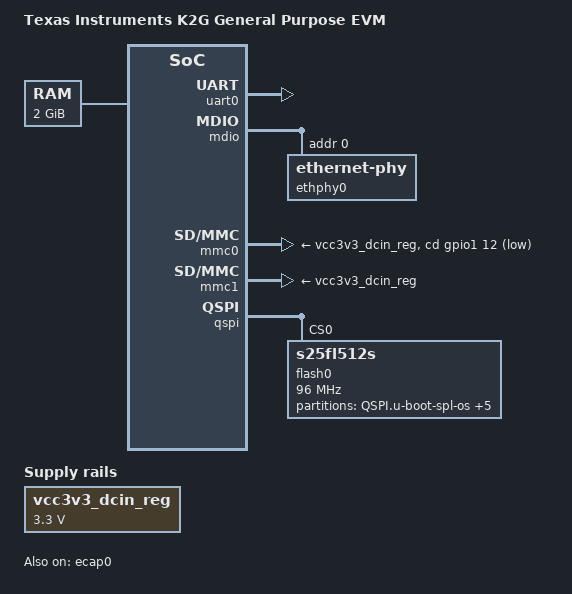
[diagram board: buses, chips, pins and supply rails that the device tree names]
/*
 * Device Tree Source for K2G EVM
 *
 * Copyright (C) 2016 Texas Instruments Incorporated - http://www.ti.com/
 *
 * This program is free software; you can redistribute it and/or modify
 * it under the terms of the GNU General Public License version 2 as
 * published by the Free Software Foundation.
 *
 * This program is distributed "as is" WITHOUT ANY WARRANTY of any
 * kind, whether express or implied; without even the implied warranty
 * of MERCHANTABILITY or FITNESS FOR A PARTICULAR PURPOSE.  See the
 * GNU General Public License for more details.
 */
/dts-v1/;

#include "keystone-k2g.dtsi"

/ {
	compatible =  "ti,k2g-evm", "ti,k2g", "ti,keystone";
	model = "Texas Instruments K2G General Purpose EVM";

	memory {
		device_type = "memory";
		reg = <0x00000008 0x00000000 0x00000000 0x80000000>;
	};

	vcc3v3_dcin_reg: fixedregulator-vcc3v3-dcin {
		compatible = "regulator-fixed";
		regulator-name = "mmc0_fixed";
		regulator-min-microvolt = <3300000>;
		regulator-max-microvolt = <3300000>;
		regulator-always-on;
	};
};

&k2g_pinctrl {
	ecap0_pins: ecap0_pins {
		pinctrl-single,pins = <
			K2G_CORE_IOPAD(0x1374) (BUFFER_CLASS_B | MUX_MODE4)	/* pr1_mdio_data.ecap0_in_apwm0_out */
		>;
	};

	uart0_pins: pinmux_uart0_pins {
		pinctrl-single,pins = <
			K2G_CORE_IOPAD(0x11cc) (BUFFER_CLASS_B | PULL_DISABLE | MUX_MODE0)	/* uart0_rxd.uart0_rxd */
			K2G_CORE_IOPAD(0x11d0) (BUFFER_CLASS_B | PIN_PULLDOWN | MUX_MODE0)	/* uart0_txd.uart0_txd */
		>;
	};

	mmc0_pins: pinmux_mmc0_pins {
		pinctrl-single,pins = <
			K2G_CORE_IOPAD(0x1300) (BUFFER_CLASS_B | PIN_PULLUP | MUX_MODE2)	/* mmc0_dat3.mmc0_dat3 */
			K2G_CORE_IOPAD(0x1304) (BUFFER_CLASS_B | PIN_PULLUP | MUX_MODE2)	/* mmc0_dat2.mmc0_dat2 */
			K2G_CORE_IOPAD(0x1308) (BUFFER_CLASS_B | PIN_PULLUP | MUX_MODE2)	/* mmc0_dat1.mmc0_dat1 */
			K2G_CORE_IOPAD(0x130c) (BUFFER_CLASS_B | PIN_PULLUP | MUX_MODE2)	/* mmc0_dat0.mmc0_dat0 */
			K2G_CORE_IOPAD(0x1310) (BUFFER_CLASS_B | PIN_PULLUP | MUX_MODE2)	/* mmc0_clk.mmc0_clk */
			K2G_CORE_IOPAD(0x1314) (BUFFER_CLASS_B | PIN_PULLUP | MUX_MODE2)	/* mmc0_cmd.mmc0_cmd */
			K2G_CORE_IOPAD(0x12ec) (BUFFER_CLASS_B | PIN_PULLUP | MUX_MODE3)	/* mmc0_sdcd.gpio1_12 */
		>;
	};

	mmc1_pins: pinmux_mmc1_pins {
		pinctrl-single,pins = <
			K2G_CORE_IOPAD(0x10ec) (BUFFER_CLASS_B | PIN_PULLUP | MUX_MODE0)	/* mmc1_dat7.mmc1_dat7 */
			K2G_CORE_IOPAD(0x10f0) (BUFFER_CLASS_B | PIN_PULLUP | MUX_MODE0)	/* mmc1_dat6.mmc1_dat6 */
			K2G_CORE_IOPAD(0x10f4) (BUFFER_CLASS_B | PIN_PULLUP | MUX_MODE0)	/* mmc1_dat5.mmc1_dat5 */
			K2G_CORE_IOPAD(0x10f8) (BUFFER_CLASS_B | PIN_PULLUP | MUX_MODE0)	/* mmc1_dat4.mmc1_dat4 */
			K2G_CORE_IOPAD(0x10fc) (BUFFER_CLASS_B | PIN_PULLUP | MUX_MODE0)	/* mmc1_dat3.mmc1_dat3 */
			K2G_CORE_IOPAD(0x1100) (BUFFER_CLASS_B | PIN_PULLUP | MUX_MODE0)	/* mmc1_dat2.mmc1_dat2 */
			K2G_CORE_IOPAD(0x1104) (BUFFER_CLASS_B | PIN_PULLUP | MUX_MODE0)	/* mmc1_dat1.mmc1_dat1 */
			K2G_CORE_IOPAD(0x1108) (BUFFER_CLASS_B | PIN_PULLUP | MUX_MODE0)	/* mmc1_dat0.mmc1_dat0 */
			K2G_CORE_IOPAD(0x110c) (BUFFER_CLASS_B | PIN_PULLUP | MUX_MODE0)	/* mmc1_clk.mmc1_clk */
			K2G_CORE_IOPAD(0x1110) (BUFFER_CLASS_B | PIN_PULLUP | MUX_MODE0)	/* mmc1_cmd.mmc1_cmd */
		>;
	};

	qspi_pins: pinmux_qspi_pins {
		pinctrl-single,pins = <
			K2G_CORE_IOPAD(0x1204) (BUFFER_CLASS_B | PULL_DISABLE | MUX_MODE0) /* qspi_clk.qspi_clk */
			K2G_CORE_IOPAD(0x1208) (BUFFER_CLASS_B | PULL_DISABLE | MUX_MODE0) /* qspi_rclk.qspi_rclk */
			K2G_CORE_IOPAD(0x120c) (BUFFER_CLASS_B | PULL_DISABLE | MUX_MODE0) /* qspi_d0.qspi_d0 */
			K2G_CORE_IOPAD(0x1210) (BUFFER_CLASS_B | PULL_DISABLE | MUX_MODE0) /* qspi_d1.qspi_d1 */
			K2G_CORE_IOPAD(0x1214) (BUFFER_CLASS_B | PULL_DISABLE | MUX_MODE0) /* qspi_d2.qspi_d2 */
			K2G_CORE_IOPAD(0x1218) (BUFFER_CLASS_B | PULL_DISABLE | MUX_MODE0) /* qspi_d3.qspi_d3 */
			K2G_CORE_IOPAD(0x121c) (BUFFER_CLASS_B | PULL_DISABLE | MUX_MODE0) /* qspi_csn0.qspi_csn0 */
		>;
	};
};

&uart0 {
	pinctrl-names = "default";
	pinctrl-0 = <&uart0_pins>;
	status = "okay";
};

&gbe0 {
	phy-handle = <&ethphy0>;
};

&mdio {
	status = "okay";
	ethphy0: ethernet-phy@0 {
		reg = <0>;
		phy-mode = "rgmii-id";
	};
};

&gpio1 {
	status = "okay";
};

&mmc0 {
	pinctrl-names = "default";
	pinctrl-0 = <&mmc0_pins>;
	vmmc-supply = <&vcc3v3_dcin_reg>;
	cd-gpios = <&gpio1 12 GPIO_ACTIVE_LOW>;
	status = "okay";
};

&mmc1 {
	pinctrl-names = "default";
	pinctrl-0 = <&mmc1_pins>;
	vmmc-supply = <&vcc3v3_dcin_reg>; /* VCC3V3_EMMC is connected to VCC3V3_DCIN */
	status = "okay";
};

&qspi {
	status = "okay";

	flash0: m25p80@0 {
		compatible = "s25fl512s", "jedec,spi-nor";
		reg = <0>;
		spi-tx-bus-width = <1>;
		spi-rx-bus-width = <4>;
		spi-max-frequency = <96000000>;
		#address-cells = <1>;
		#size-cells = <1>;
		cdns,read-delay = <5>;
		cdns,tshsl-ns = <500>;
		cdns,tsd2d-ns = <500>;
		cdns,tchsh-ns = <119>;
		cdns,tslch-ns = <119>;

		partition@0 {
			label = "QSPI.u-boot-spl-os";
			reg = <0x00000000 0x00100000>;
		};
		partition@1 {
			label = "QSPI.u-boot-env";
			reg = <0x00100000 0x00040000>;
		};
		partition@2 {
			label = "QSPI.skern";
			reg = <0x00140000 0x0040000>;
		};
		partition@3 {
			label = "QSPI.pmmc-firmware";
			reg = <0x00180000 0x0040000>;
		};
		partition@4 {
			label = "QSPI.kernel";
			reg = <0x001C0000 0x0800000>;
		};
		partition@5 {
			label = "QSPI.file-system";
			reg = <0x009C0000 0x3640000>;
		};
	};
};

&ecap0 {
	status = "okay";
	pinctrl-names = "default";
	pinctrl-0 = <&ecap0_pins>;
};
